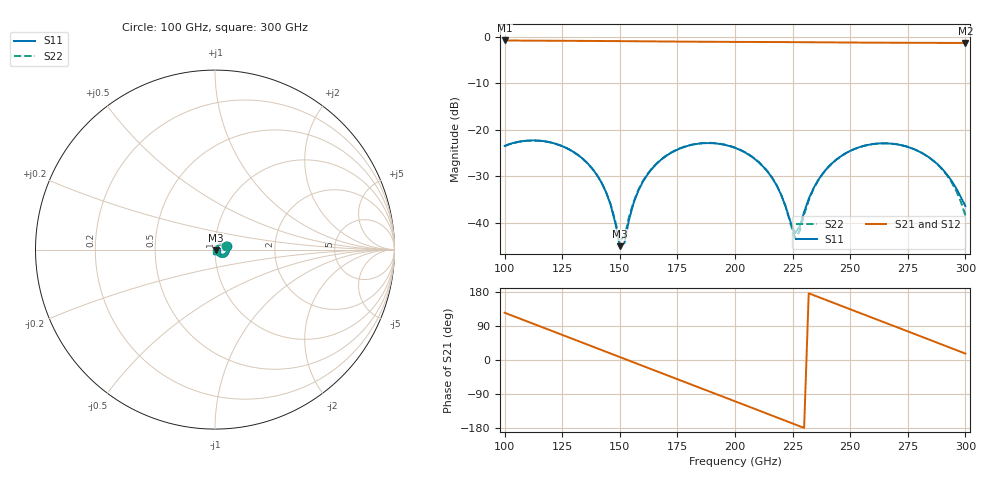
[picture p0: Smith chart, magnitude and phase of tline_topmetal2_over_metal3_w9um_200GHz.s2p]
#  GHZ S DB R 50
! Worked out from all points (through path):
!   101 points, 100 GHz to 300 GHz, reference 50 ohm
!   highest |S21| = -0.85 dB at 100 GHz (marker M1); lowest = -1.4 dB at 300 GHz (marker M2)
!   group delay of S21, straight-line fit = 6.5 ps
!   lowest |S11| = -45.0 dB at 150 GHz (marker M3), VSWR 1.01, Z = 50.5 - j0.303 ohm
!   |S11| at or under -10 dB: start of sweep to end of sweep
!   |S22| runs from -43.8 to -22.3 dB; largest |S21 - S12| = 1e-14
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100  -23.50 16.5  -0.85 124.7  -0.85 124.7  -23.55 17.3
116  -22.41 -16.7  -0.90 87.4  -0.90 87.4  -22.44 -16.1
134  -26.29 -53.4  -0.94 45.3  -0.94 45.3  -26.31 -52.5
144  -33.39 -67.8  -0.97 21.9  -0.97 21.9  -33.36 -65.5
150  -45.04 -32.5  -0.99 7.8  -0.99 7.8  -43.79 -26.9
152  -44.38 26.4  -1.00 3.1  -1.00 3.1  -43.04 22.3
154  -39.38 49.5  -1.00 -1.6  -1.00 -1.6  -38.81 44.7
158  -33.18 55.1  -1.02 -11.0  -1.02 -11.0  -32.98 51.9
168  -26.44 40.3  -1.06 -34.3  -1.06 -34.3  -26.37 38.3
184  -23.04 7.9  -1.12 -71.7  -1.12 -71.7  -22.98 6.1
200  -23.92 -25.1  -1.16 -109.0  -1.16 -109.0  -23.87 -27.2
216  -30.29 -52.3  -1.18 -146.4  -1.18 -146.4  -30.23 -55.6
220  -33.95 -53.1  -1.19 -155.8  -1.19 -155.8  -33.94 -57.5
226  -42.26 -7.1  -1.21 -169.9  -1.21 -169.9  -43.25 -12.5
234  -32.68 54.8  -1.23 171.4  -1.23 171.4  -32.85 54.8
248  -25.09 35.9  -1.28 138.6  -1.28 138.6  -25.11 34.3
258  -23.26 16.4  -1.31 115.2  -1.31 115.2  -23.25 14.1
268  -23.02 -3.6  -1.33 91.9  -1.33 91.9  -23.00 -6.8
278  -24.27 -22.8  -1.35 68.5  -1.35 68.5  -24.25 -27.4
288  -27.48 -38.9  -1.37 45.1  -1.37 45.1  -27.52 -46.5
294  -31.00 -43.0  -1.38 31.0  -1.38 31.0  -31.28 -54.8
300  -36.42 -28.0  -1.39 17.0  -1.39 17.0  -38.47 -48.9
